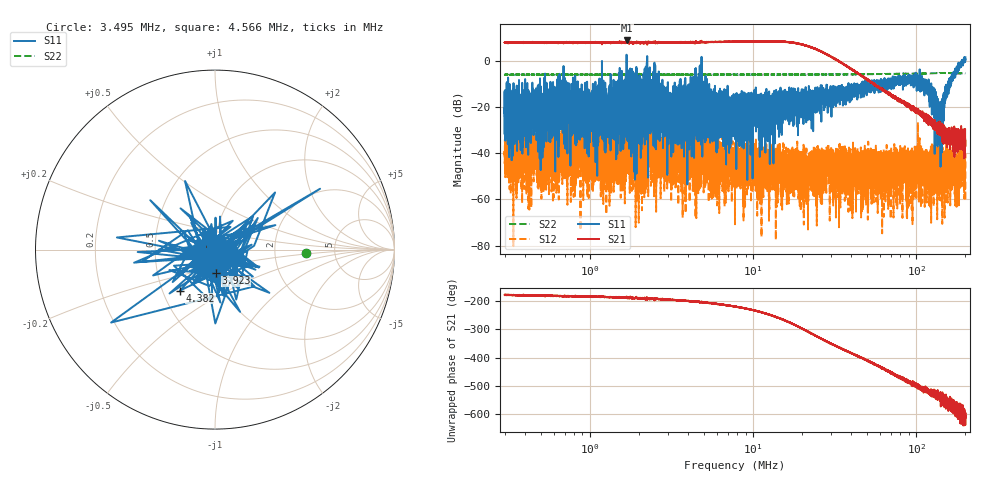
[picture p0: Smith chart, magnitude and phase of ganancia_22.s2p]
# Hz S DB R 50
! CMT, M5065, 19127446, 24.2.4/2
! Date: 11/1/2024 4:27:50 PM
! Data: Format (Calibration Info)
! Freq	S11:dB/Ang(F2)	S21:dB/Ang(F2)	S12:dB/Ang(F2)	S22:dB/Ang(F2)
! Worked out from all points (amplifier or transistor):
!   9000 points, 300 kHz to 200 MHz, reference 50 ohm
!   highest |S21| = 8.9 dB at 1.677 MHz (marker M1)
!   |S21| within 3 dB of that: start of sweep to 22.72 MHz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
!   unconditionally stable (mu >= 1): start of sweep to 1.184 MHz; 2.245 MHz to 4.828 MHz; 4.833 MHz to 190 MHz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
!   at 886.8 kHz: K = 9.69, MAG = 9.3 dB, |S12| = -36.3 dB
!   at 7.749 MHz: K = 10.20, MAG = 9.7 dB, |S12| = -37.1 dB
!   at 200 MHz: K = -882.83, MSG = 2.7 dB, |S12| = -40.0 dB
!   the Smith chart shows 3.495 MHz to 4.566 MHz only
!   S11 on the Smith chart (normalised r, x): 3.495 MHz: 0.95, +0.05; 3.923 MHz: 0.97, -0.26; 4.382 MHz: 0.61, -0.31; 4.566 MHz: 1.38, +0.27
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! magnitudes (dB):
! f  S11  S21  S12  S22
! 300 kHz  -20.6  8.1  -39.1  -5.9
! 886.8 kHz  -32.9  8.0  -36.3  -5.8
! 1.677 MHz  2.8  8.9  -39.3  -5.9
! 2.079 MHz  -8.1  7.7  -42.1  -5.9
! 2.621 MHz  -18.3  8.1  -39.2  -5.8
! 3.495 MHz  -28.9  8.1  -38.3  -5.9
! 3.923 MHz  -17.6  8.2  -51.8  -5.9
! 4.382 MHz  -10.5  8.3  -52.6  -5.9
! 4.566 MHz  -14.2  8.0  -47.3  -5.9
! 4.88 MHz  -10.6  8.2  -40.5  -5.9
! 5.482 MHz  -24.2  8.3  -40.6  -5.9
! 6.687 MHz  -16.7  8.4  -63.0  -5.9
! 7.034 MHz  -27.4  8.3  -47.9  -5.9
! 7.749 MHz  -24.4  8.4  -37.1  -5.9
! 22.91 MHz  -18.6  5.9  -54.8  -5.8
! 67.71 MHz  -8.5  -14.4  -49.6  -5.6
! 114.2 MHz  -9.4  -24.7  -44.8  -5.4
! 129.2 MHz  -16.6  -28.8  -46.3  -5.3
! 139.1 MHz  -22.3  -26.2  -40.4  -5.2
! 156.5 MHz  -10.3  -32.5  -52.1  -5.2
! 182.2 MHz  -3.4  -31.1  -50.4  -5.3
! 200 MHz  1.7  -34.5  -40.0  -5.3
